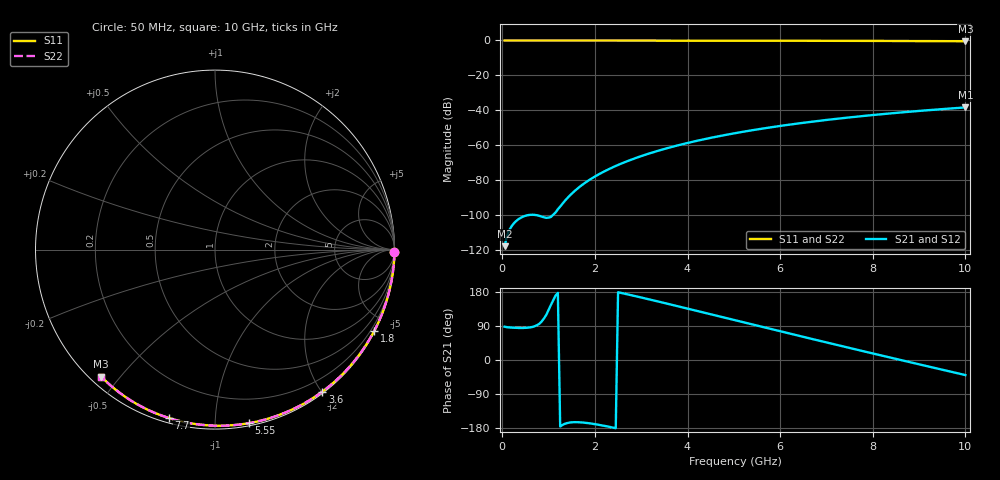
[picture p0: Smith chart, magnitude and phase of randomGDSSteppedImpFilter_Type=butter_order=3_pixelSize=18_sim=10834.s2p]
! freq	dB(S11)	phase(S11)	dB(S12)	phase(S12)
!  dB(S21)	phase(S21)	dB(S22)	phase(S22)
!S-par simulation data
#  GHz  S  DB  R 50
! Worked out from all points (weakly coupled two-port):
!   200 points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, 50 MHz to 10 GHz, reference 50 ohm
!   highest |S21| = -38.38 dB at 10 GHz (marker M1); lowest = -117.9 dB at 50 MHz (marker M2)
!   lowest |S11| = -0.4 dB at 10 GHz (marker M3), VSWR 39.14, Z = 1.53 - j22.3 ohm
!   |S11| at or under -10 dB: nowhere
!   |S22| runs from -0.4 to 0.0 dB; largest |S21 - S12| = 0
!   S11 on the Smith chart (normalised r, x): 50 MHz: open; 1.8 GHz: 0.04, -4.16; 3.6 GHz: 0.02, -2.01; 5.55 GHz: 0.02, -1.21; 7.7 GHz: 0.02, -0.76; 10 GHz: 0.03, -0.45
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0.05  -0.00 -0.8  -117.89 87.9  -117.89 87.9  -0.00 -0.8
0.9  -0.02 -13.6  -101.35 109.7  -101.35 109.7  -0.02 -13.6
1.75  -0.03 -26.3  -82.29 -165.1  -82.29 -165.1  -0.03 -26.3
1.8  -0.03 -27.0  -81.34 -165.8  -81.34 -165.8  -0.03 -27.0
1.85  -0.04 -27.8  -80.45 -166.5  -80.45 -166.5  -0.04 -27.8
1.9  -0.04 -28.5  -79.59 -167.4  -79.59 -167.4  -0.04 -28.5
2.05  -0.04 -30.7  -77.21 -170.3  -77.21 -170.3  -0.04 -30.7
2.25  -0.04 -33.6  -74.40 -174.9  -74.40 -174.9  -0.04 -33.6
2.45  -0.05 -36.5  -71.91 -179.9  -71.91 -179.9  -0.05 -36.5
2.65  -0.05 -39.4  -69.69 174.7  -69.69 174.7  -0.05 -39.4
3  -0.06 -44.4  -66.28 165.0  -66.28 165.0  -0.06 -44.4
3.4  -0.07 -50.1  -62.94 153.4  -62.94 153.4  -0.07 -50.1
3.6  -0.07 -52.9  -61.45 147.5  -61.45 147.5  -0.07 -52.9
4.3  -0.09 -62.5  -56.94 126.7  -56.94 126.7  -0.09 -62.5
5.05  -0.11 -72.5  -53.02 104.2  -53.02 104.2  -0.11 -72.5
5.55  -0.13 -79.0  -50.79 89.3  -50.79 89.3  -0.13 -79.0
6.1  -0.15 -85.9  -48.61 72.9  -48.61 72.9  -0.15 -85.9
6.7  -0.18 -93.4  -46.52 55.2  -46.52 55.2  -0.18 -93.4
7.7  -0.24 -105.4  -43.53 25.9  -43.53 25.9  -0.24 -105.4
8.35  -0.29 -113.1  -41.87 7.2  -41.87 7.2  -0.29 -113.1
9.15  -0.36 -122.3  -40.06 -15.7  -40.06 -15.7  -0.36 -122.3
10  -0.44 -131.9  -38.38 -39.8  -38.38 -39.8  -0.44 -131.9
